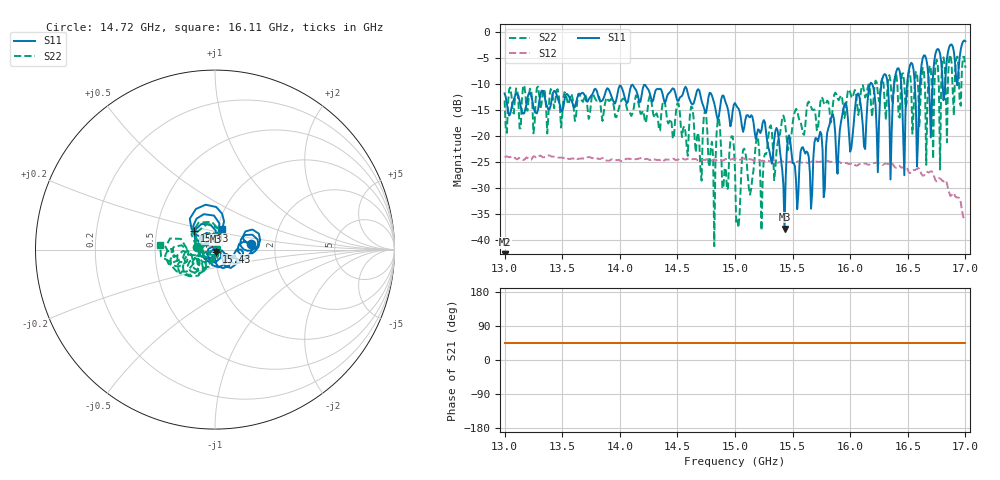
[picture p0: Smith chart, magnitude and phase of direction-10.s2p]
!Keysight Technologies,P9374A,MY57211810,A.19.30.04
!Date: Friday, May 02, 2025 08:57:51
!Correction: S11(Off)
!S21(Off)
!S12(Off)
!S22(Off)
!S2P File: Measurements: S11, S21, S12, S22:
# Hz S  dB  R 50
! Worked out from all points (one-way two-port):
!   401 points, 13 GHz to 17 GHz, reference 50 ohm
!   highest |S21| = - dB at 13 GHz (marker M1); lowest = - dB at 13 GHz (marker M2)
!   lowest |S11| = -37.9 dB at 15.43 GHz (marker M3), VSWR 1.03, Z = 50.5 - j1.16 ohm
!   |S11| at or under -10 dB: start of sweep to 16.17 GHz; 16.19003 GHz to 16.27099 GHz (80.97 MHz wide, 0.499 % of centre); 16.32445 GHz to 16.38129 GHz (56.84 MHz wide, 0.348 % of centre) (the widest 3 of 8)
!   |S22| runs from -41.2 to -4.4 dB; largest |S21 - S12| = 0.065
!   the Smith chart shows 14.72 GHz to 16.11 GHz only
!   S11 on the Smith chart (normalised r, x): 14.72 GHz: 1.49, +0.10; 15.43 GHz: 1.01, -0.02; 15.93 GHz: 0.77, +0.16; 16.11 GHz: 1.06, +0.25
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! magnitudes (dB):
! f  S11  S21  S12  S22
! 13 GHz  -11.8  -  -24.1  -13.2
! 13.67 GHz  -11.7  -  -24.3  -13.2
! 14.34 GHz  -11.0  -  -24.6  -18.8
! 14.72 GHz  -13.9  -  -24.6  -19.7
! 15 GHz  -13.7  -  -24.4  -26.5
! 15.03 GHz  -14.7  -  -24.7  -37.6
! 15.08 GHz  -18.4  -  -24.3  -22.5
! 15.24 GHz  -17.5  -  -24.7  -28.7
! 15.43 GHz  -37.9  -  -24.9  -16.9
! 15.47 GHz  -19.9  -  -25.0  -21.8
! 15.67 GHz  -31.0  -  -24.9  -15.0
! 15.93 GHz  -16.1  -  -25.2  -12.7
! 16.11 GHz  -18.2  -  -25.4  -10.2
! 16.3 GHz  -8.1  -  -25.3  -14.0
! 16.34 GHz  -15.5  -  -25.4  -8.3
! 16.41 GHz  -7.0  -  -26.1  -10.2
! 16.47 GHz  -27.6  -  -25.8  -10.0
! 16.54 GHz  -6.2  -  -26.6  -19.6
! 16.58 GHz  -25.9  -  -26.4  -7.9
! 16.64 GHz  -4.5  -  -27.6  -7.6
! 16.7 GHz  -20.3  -  -26.8  -7.1
! 17 GHz  -1.8  -  -35.8  -6.9
